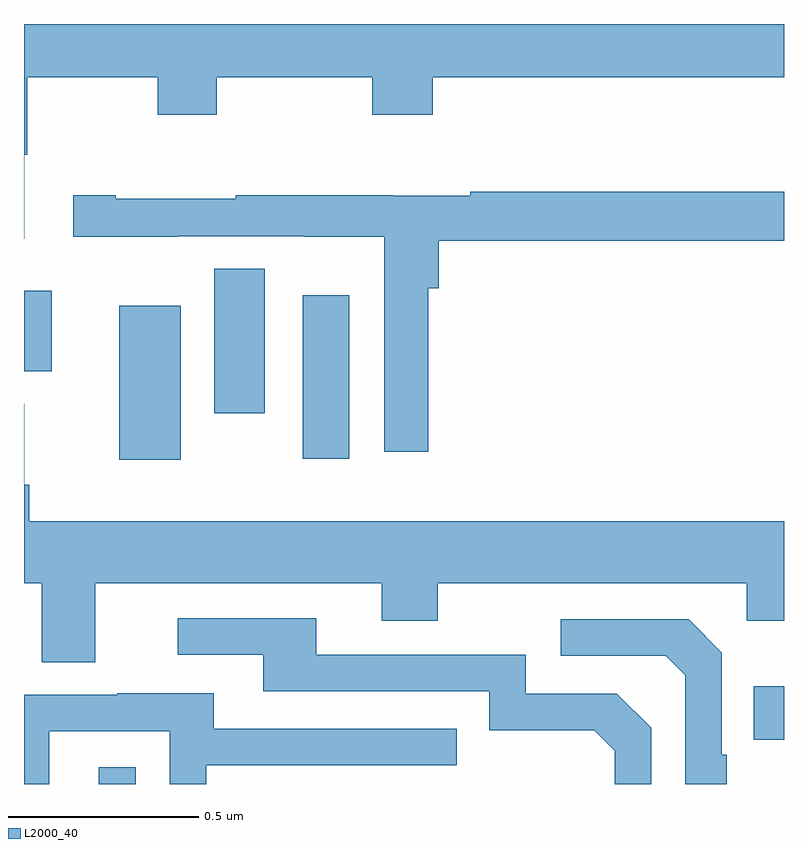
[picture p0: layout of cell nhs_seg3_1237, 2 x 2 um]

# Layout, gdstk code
import gdstk
lib = gdstk.Library(unit=1e-6, precision=1e-09)
def R(c, l, rs):  # rectangles x0, y0, x1, y1
    for r in rs: c.add(gdstk.rectangle(r[:2], r[2:], *l))
def P(c, l, *ps):  # polygons
    for p in ps: c.add(gdstk.Polygon(p, *l))
L2000_40 = (2000, 40)

nhs_seg3_1237 = lib.new_cell('nhs_seg3_1237')
R(nhs_seg3_1237, L2000_40, [(126.197,688.4,126.294,688.444), (127.921,688.517,128,688.657), (126.251,689.253,126.412,689.659), (126.734,689.256,126.856,689.686), (126.5,689.376,126.634,689.756), (126,689.486,126.073,689.698)])
P(nhs_seg3_1237, L2000_40, [(126.001,690.056),(126.009,690.056),(126.009,690.26),(126.352,690.26),(126.352,690.161),(126.507,690.161),(126.507,690.26),(126.916,690.26),(126.916,690.161),(127.076,690.161),(127.076,690.26),(128,690.26),(128,690.4),(126,690.4),(126,689.835),(126.001,689.835)],
  [(127.064,689.705),(127.091,689.705),(127.091,689.83),(128,689.83),(128,689.959),(127.174,689.959),(127.174,689.948),(126.972,689.948),(126.972,689.95),(126.557,689.95),(126.557,689.94),(126.241,689.94),(126.241,689.95),(126.129,689.95),(126.129,689.84),(126.404,689.84),(126.404,689.841),(126.738,689.841),(126.738,689.84),(126.948,689.84),(126.948,689.274),(127.064,689.274)],
  [(126.187,688.928),(126.941,688.928),(126.941,688.829),(127.089,688.829),(127.089,688.928),(127.902,688.928),(127.902,688.829),(128,688.829),(128,689.092),(126.014,689.092),(126.014,689.188),(126.001,689.188),(126.001,689.401),(126,689.401),(126,688.928),(126.047,688.928),(126.047,688.72),(126.187,688.72)],
  [(127.65,688.548),(127.56,688.638),(127.32,688.638),(127.32,688.74),(126.769,688.74),(126.769,688.836),(126.405,688.836),(126.405,688.74),(126.629,688.74),(126.629,688.644),(127.224,688.644),(127.224,688.541),(127.501,688.541),(127.554,688.488),(127.554,688.4),(127.65,688.4)],
  [(127.849,688.477),(127.836,688.477),(127.836,688.746),(127.749,688.833),(127.413,688.833),(127.413,688.737),(127.689,688.737),(127.74,688.686),(127.74,688.4),(127.849,688.4)],
  [(126.066,688.539),(126.384,688.539),(126.384,688.4),(126.48,688.4),(126.48,688.449),(127.139,688.449),(127.139,688.545),(126.499,688.545),(126.499,688.639),(126.245,688.639),(126.245,688.635),(126,688.635),(126,688.4),(126.066,688.4)])

lib.write_gds('nhs_seg3_1237.gds')
